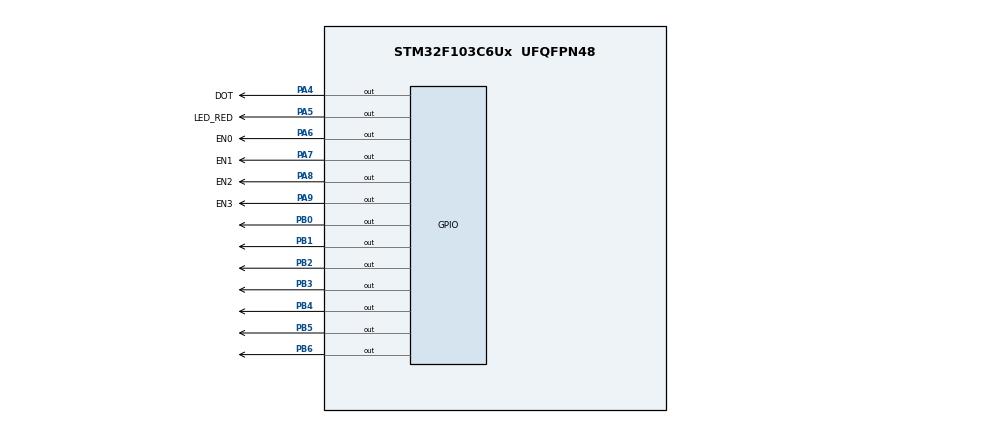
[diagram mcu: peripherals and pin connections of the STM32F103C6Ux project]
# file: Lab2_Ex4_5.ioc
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Mcu.Family=STM32F1
Mcu.Name=STM32F103C6Ux
Mcu.Package=UFQFPN48
NVIC.PriorityGroup=NVIC_PRIORITYGROUP_4
NVIC.TIM2_IRQn=true\:0\:0\:false\:false\:true\:true\:true\:true
PA4.GPIO_Label=DOT
PA4.Signal=GPIO_Output
PA5.GPIO_Label=LED_RED
PA5.Signal=GPIO_Output
PA6.GPIO_Label=EN0
PA6.Signal=GPIO_Output
PA7.GPIO_Label=EN1
PA7.Signal=GPIO_Output
PA8.GPIO_Label=EN2
PA8.Signal=GPIO_Output
PA9.GPIO_Label=EN3
PA9.Signal=GPIO_Output
PB0.Signal=GPIO_Output
PB1.Signal=GPIO_Output
PB2.Signal=GPIO_Output
PB3.Signal=GPIO_Output
PB4.Signal=GPIO_Output
PB5.Signal=GPIO_Output
PB6.Signal=GPIO_Output
ProjectManager.HeapSize=0x200
ProjectManager.StackSize=0x400
ProjectManager.TargetToolchain=STM32CubeIDE
RCC.APB1Freq_Value=8000000
RCC.APB2Freq_Value=8000000
TIM2.Period=9
TIM2.Prescaler=7999
VP_TIM2_VS_ClockSourceINT.Mode=Internal
board=custom

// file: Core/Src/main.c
/* USER CODE BEGIN Header */
/**
 ******************************************************************************
 * @file           : main.c
 * @brief          : Main program body
 ******************************************************************************
 * @attention
 *
 * Copyright (c) 2022 STMicroelectronics.
 * All rights reserved.
 *
 * This software is licensed under terms that can be found in the LICENSE file
 * in the root directory of this software component.
 * If no LICENSE file comes with this software, it is provided AS-IS.
 *
 ******************************************************************************
 */
/* USER CODE END Header */
#include "main.h"

/* USER CODE BEGIN PD */
#define RUN_TIME 25
/* USER CODE END PD */

TIM_HandleTypeDef htim2;

/* USER CODE BEGIN PV */
int hour = 15;
int minute = 8;
int second = 50;
const int MAX_LED = 4;
int index_led = 0;
int led_buffer[4] = {1, 2, 3, 4};
/* USER CODE END PV */

void SystemClock_Config(void);
static void MX_GPIO_Init(void);
static void MX_TIM2_Init(void);

/* USER CODE BEGIN 0 */
static uint8_t LED7_SEG[10] = {0xC0, 0xF9, 0xA4, 0xB0, 0x99, 0x92, 0x82, 0xF8, 0x80, 0x90};

void display7SEG(int index)
{
    HAL_GPIO_WritePin(GPIOB, GPIO_PIN_0, ((LED7_SEG[index] >> 0) & 0x01));
    HAL_GPIO_WritePin(GPIOB, GPIO_PIN_1, ((LED7_SEG[index] >> 1) & 0x01));
    HAL_GPIO_WritePin(GPIOB, GPIO_PIN_2, ((LED7_SEG[index] >> 2) & 0x01));
    HAL_GPIO_WritePin(GPIOB, GPIO_PIN_3, ((LED7_SEG[index] >> 3) & 0x01));
    HAL_GPIO_WritePin(GPIOB, GPIO_PIN_4, ((LED7_SEG[index] >> 4) & 0x01));
    HAL_GPIO_WritePin(GPIOB, GPIO_PIN_5, ((LED7_SEG[index] >> 5) & 0x01));
    HAL_GPIO_WritePin(GPIOB, GPIO_PIN_6, ((LED7_SEG[index] >> 6) & 0x01));
}

// Ex3
void update7SEG(int index)
{
    switch (index)
    {
    case 0:
        // Display the first 7 SEG with led_buffer [0]
        HAL_GPIO_WritePin(EN0_GPIO_Port, EN0_Pin, RESET);
        HAL_GPIO_WritePin(EN1_GPIO_Port, EN1_Pin, SET);
        HAL_GPIO_WritePin(EN2_GPIO_Port, EN2_Pin, SET);
        HAL_GPIO_WritePin(EN3_GPIO_Port, EN3_Pin, SET);
        break;
    case 1:
        // Display the second 7 SEG with led_buffer [1]
        HAL_GPIO_WritePin(EN0_GPIO_Port, EN0_Pin, SET);
        HAL_GPIO_WritePin(EN1_GPIO_Port, EN1_Pin, RESET);
        HAL_GPIO_WritePin(EN2_GPIO_Port, EN2_Pin, SET);
        HAL_GPIO_WritePin(EN3_GPIO_Port, EN3_Pin, SET);
        break;
    case 2:
        // Displ the third 7 SEG with led_buffer [2]
        HAL_GPIO_WritePin(EN0_GPIO_Port, EN0_Pin, SET);
        HAL_GPIO_WritePin(EN1_GPIO_Port, EN1_Pin, SET);
        HAL_GPIO_WritePin(EN2_GPIO_Port, EN2_Pin, RESET);
        HAL_GPIO_WritePin(EN3_GPIO_Port, EN3_Pin, SET);
        break;
    case 3:
        // Display the forth 7 SEG with led_buffer [3]
        HAL_GPIO_WritePin(EN0_GPIO_Port, EN0_Pin, SET);
        HAL_GPIO_WritePin(EN1_GPIO_Port, EN1_Pin, SET);
        HAL_GPIO_WritePin(EN2_GPIO_Port, EN2_Pin, SET);
        HAL_GPIO_WritePin(EN3_GPIO_Port, EN3_Pin, RESET);
        break;
    default:
        break;
    }
    display7SEG(index);
}

void updateClockBuffer() {
    led_buffer[0] = hour / 10;
    led_buffer[1] = hour % 10;
    led_buffer[2] = minute / 10;
    led_buffer[3] = minute % 10;
}
/* USER CODE END 0 */

int main(void)
{

    /* MCU Configuration--------------------------------------------------------*/

    /* Reset of all peripherals, Initializes the Flash interface and the Systick. */
    HAL_Init();

    /* Configure the system clock */
    SystemClock_Config();

    /* Initialize all configured peripherals */
    MX_GPIO_Init();
    MX_TIM2_Init();
    /* USER CODE BEGIN 2 */
    HAL_TIM_Base_Start_IT(&htim2);
    /* USER CODE END 2 */

    /* Infinite loop */
    /* USER CODE BEGIN WHILE */

    while (1) {
        second++;
        if (second >= 60) {
            second = 0;
            minute++;
        }
        if (minute >= 60) {
            minute = 0;
            hour++;
        }
        if (hour >= 24) {
            hour = 0;
        }
        updateClockBuffer();
        HAL_Delay(1000);
    }
    /* USER CODE END 3 */
}

void SystemClock_Config(void)
{
    RCC_OscInitTypeDef RCC_OscInitStruct = {0};
    RCC_ClkInitTypeDef RCC_ClkInitStruct = {0};

    /** Initializes the RCC Oscillators according to the specified parameters
     * in the RCC_OscInitTypeDef structure.
     */
    RCC_OscInitStruct.OscillatorType = RCC_OSCILLATORTYPE_HSI;
    RCC_OscInitStruct.HSIState = RCC_HSI_ON;
    RCC_OscInitStruct.HSICalibrationValue = RCC_HSICALIBRATION_DEFAULT;
    RCC_OscInitStruct.PLL.PLLState = RCC_PLL_NONE;
    if (HAL_RCC_OscConfig(&RCC_OscInitStruct) != HAL_OK)
    {
        Error_Handler();
    }

    /** Initializes the CPU, AHB and APB buses clocks
     */
    RCC_ClkInitStruct.ClockType = RCC_CLOCKTYPE_HCLK | RCC_CLOCKTYPE_SYSCLK | RCC_CLOCKTYPE_PCLK1 | RCC_CLOCKTYPE_PCLK2;
    RCC_ClkInitStruct.SYSCLKSource = RCC_SYSCLKSOURCE_HSI;
    RCC_ClkInitStruct.AHBCLKDivider = RCC_SYSCLK_DIV1;
    RCC_ClkInitStruct.APB1CLKDivider = RCC_HCLK_DIV1;
    RCC_ClkInitStruct.APB2CLKDivider = RCC_HCLK_DIV1;

    if (HAL_RCC_ClockConfig(&RCC_ClkInitStruct, FLASH_LATENCY_0) != HAL_OK)
    {
        Error_Handler();
    }
}

static void MX_TIM2_Init(void)
{

    TIM_ClockConfigTypeDef sClockSourceConfig = {0};
    TIM_MasterConfigTypeDef sMasterConfig = {0};

    htim2.Instance = TIM2;
    htim2.Init.Prescaler = 7999;
    htim2.Init.CounterMode = TIM_COUNTERMODE_UP;
    htim2.Init.Period = 9;
    htim2.Init.ClockDivision = TIM_CLOCKDIVISION_DIV1;
    htim2.Init.AutoReloadPreload = TIM_AUTORELOAD_PRELOAD_DISABLE;
    if (HAL_TIM_Base_Init(&htim2) != HAL_OK)
    {
        Error_Handler();
    }
    sClockSourceConfig.ClockSource = TIM_CLOCKSOURCE_INTERNAL;
    if (HAL_TIM_ConfigClockSource(&htim2, &sClockSourceConfig) != HAL_OK)
    {
        Error_Handler();
    }
    sMasterConfig.MasterOutputTrigger = TIM_TRGO_RESET;
    sMasterConfig.MasterSlaveMode = TIM_MASTERSLAVEMODE_DISABLE;
    if (HAL_TIMEx_MasterConfigSynchronization(&htim2, &sMasterConfig) != HAL_OK)
    {
        Error_Handler();
    }
}

static void MX_GPIO_Init(void)
{
    GPIO_InitTypeDef GPIO_InitStruct = {0};

    /* GPIO Ports Clock Enable */
    __HAL_RCC_GPIOA_CLK_ENABLE();
    __HAL_RCC_GPIOB_CLK_ENABLE();

    /*Configure GPIO pin Output Level */
    HAL_GPIO_WritePin(GPIOA, DOT_Pin | LED_RED_Pin | EN0_Pin | EN1_Pin | EN2_Pin | EN3_Pin, GPIO_PIN_RESET);

    /*Configure GPIO pin Output Level */
    HAL_GPIO_WritePin(GPIOB, GPIO_PIN_0 | GPIO_PIN_1 | GPIO_PIN_2 | GPIO_PIN_3 | GPIO_PIN_4 | GPIO_PIN_5 | GPIO_PIN_6, GPIO_PIN_RESET);

    /*Configure GPIO pins : DOT_Pin LED_RED_Pin EN0_Pin EN1_Pin
                             EN2_Pin EN3_Pin */
    GPIO_InitStruct.Pin = DOT_Pin | LED_RED_Pin | EN0_Pin | EN1_Pin | EN2_Pin | EN3_Pin;
    GPIO_InitStruct.Mode = GPIO_MODE_OUTPUT_PP;
    GPIO_InitStruct.Pull = GPIO_NOPULL;
    GPIO_InitStruct.Speed = GPIO_SPEED_FREQ_LOW;
    HAL_GPIO_Init(GPIOA, &GPIO_InitStruct);

    /*Configure GPIO pins : PB0 PB1 PB2 PB3
                             PB4 PB5 PB6 */
    GPIO_InitStruct.Pin = GPIO_PIN_0 | GPIO_PIN_1 | GPIO_PIN_2 | GPIO_PIN_3 | GPIO_PIN_4 | GPIO_PIN_5 | GPIO_PIN_6;
    GPIO_InitStruct.Mode = GPIO_MODE_OUTPUT_PP;
    GPIO_InitStruct.Pull = GPIO_NOPULL;
    GPIO_InitStruct.Speed = GPIO_SPEED_FREQ_LOW;
    HAL_GPIO_Init(GPIOB, &GPIO_InitStruct);
}

/* USER CODE BEGIN 4 */
int count = RUN_TIME;

void HAL_TIM_PeriodElapsedCallback(TIM_HandleTypeDef *htim)
{
    count--;
    if (count <= 0)
    {
    	if (index_led > 1)
    		HAL_GPIO_TogglePin(DOT_GPIO_Port, DOT_Pin);
        update7SEG(index_led++);
        if (index_led >= MAX_LED)
            index_led = 0;
        count = RUN_TIME;
    }
}
/* USER CODE END 4 */

void Error_Handler(void)
{
    __disable_irq();
    while (1)
    {
    }
}
